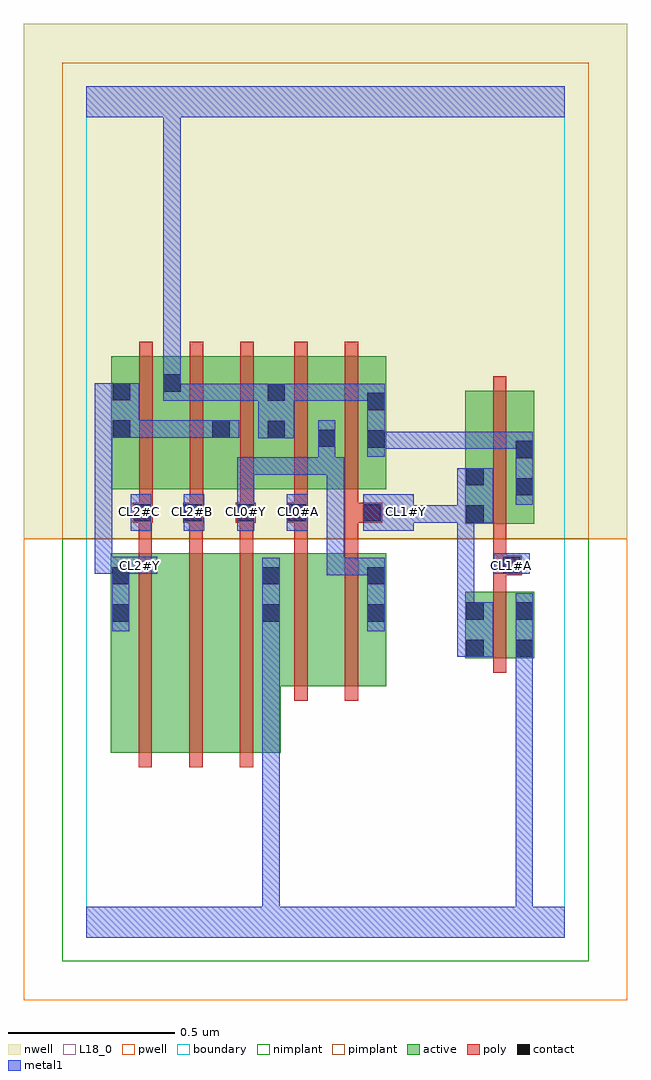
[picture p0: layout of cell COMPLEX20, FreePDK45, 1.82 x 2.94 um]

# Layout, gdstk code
import gdstk
lib = gdstk.Library(unit=1e-6, precision=1e-09)
def R(c, l, rs):  # rectangles x0, y0, x1, y1
    for r in rs: c.add(gdstk.rectangle(r[:2], r[2:], *l))
def A(c, l, x, y, w, h, nx, ny, dx, dy):  # array of equal rectangles
    R(c, l, [(x+i*dx, y+j*dy, x+i*dx+w, y+j*dy+h) for i in range(nx) for j in range(ny)])
active = (1, 0)
pwell = (2, 0)
nwell = (3, 0)
nimplant = (4, 0)
pimplant = (5, 0)
poly = (9, 0)
contact = (10, 0)
metal1 = (11, 0)
L18_0 = (18, 0)
boundary = (235, 0)

complex20 = lib.new_cell('COMPLEX20')
R(complex20, active, [(0.074,0.556,0.254,1.156), (0.074,0.556,0.134,1.156), (0.254,0.556,0.406,1.156), (0.406,0.556,0.586,1.156), (0.526,0.756,0.722,1.156), (0.526,0.756,0.586,1.118), (0.722,0.756,0.902,1.156), (0.842,0.756,0.902,1.156), (1.14,0.84,1.2,1.04), (1.14,0.84,1.348,1.04), (1.288,0.84,1.348,1.04), (1.14,1.244,1.2,1.644), (1.14,1.244,1.348,1.644), (1.288,1.244,1.348,1.644), (0.076,1.348,0.136,1.748), (0.076,1.348,0.288,1.748), (0.228,1.348,0.436,1.748), (0.376,1.348,0.602,1.748), (0.542,1.348,0.602,1.748), (0.542,1.348,0.754,1.748), (0.694,1.348,0.902,1.748), (0.842,1.348,0.902,1.748), (0.694,1.472,0.754,1.644), (0.376,1.5,0.436,1.644), (0.228,1.572,0.288,1.748)])
R(complex20, pwell, [(-0.188,-0.188,1.628,1.2)])
R(complex20, nwell, [(-0.188,1.2,1.628,2.748)])
R(complex20, nimplant, [(-0.072,-0.072,1.512,1.2)])
R(complex20, pimplant, [(-0.072,1.2,1.512,2.632)])
A(complex20, poly, 0.158, 0.512, 0.04, 0.688, 3, 1, 0.152, 0)
A(complex20, poly, 0.158, 1.16, 0.04, 0.128, 3, 1, 0.152, 0)
A(complex20, poly, 0.16, 1.268, 0.04, 0.076, 3, 1, 0.152, 0)
A(complex20, poly, 0.16, 1.304, 0.04, 0.488, 3, 1, 0.152, 0)
R(complex20, poly, [(0.626,0.712,0.666,1.2), (0.778,0.712,0.818,1.2), (1.224,0.796,1.264,1.084), (1.224,1.044,1.264,1.13), (1.224,1.09,1.31,1.15), (1.224,1.11,1.264,1.24), (1.224,1.11,1.264,1.15), (1.224,1.11,1.264,1.15), (0.626,1.16,0.666,1.288), (0.778,1.16,0.818,1.288), (1.224,1.2,1.264,1.688), (0.14,1.248,0.2,1.308), (0.158,1.248,0.198,1.288), (0.158,1.248,0.198,1.288), (0.292,1.248,0.352,1.308), (0.45,1.248,0.51,1.308), (0.462,1.248,0.502,1.288), (0.462,1.248,0.502,1.288), (0.606,1.248,0.666,1.308), (0.778,1.248,0.89,1.308), (0.312,1.268,0.352,1.308), (0.312,1.268,0.352,1.308), (0.626,1.268,0.666,1.308), (0.626,1.268,0.666,1.308), (0.626,1.268,0.666,1.344), (0.778,1.268,0.818,1.308), (0.778,1.268,0.818,1.308), (0.778,1.268,0.818,1.344), (0.626,1.304,0.666,1.792), (0.778,1.304,0.818,1.792)])
R(complex20, contact, [(1.144,0.844,1.196,0.896), (1.292,0.844,1.344,0.896), (0.078,0.95,0.13,1.002), (0.53,0.95,0.582,1.002), (0.846,0.95,0.898,1.002), (1.144,0.956,1.196,1.008), (1.292,0.956,1.344,1.008), (0.078,1.062,0.13,1.114), (0.53,1.062,0.582,1.114), (0.846,1.062,0.898,1.114), (1.254,1.094,1.306,1.146), (1.144,1.248,1.196,1.3), (0.144,1.252,0.196,1.304), (0.296,1.252,0.348,1.304), (0.454,1.252,0.506,1.304), (0.61,1.252,0.662,1.304), (0.834,1.252,0.886,1.304), (1.292,1.33,1.344,1.382), (1.144,1.36,1.196,1.412), (1.292,1.442,1.344,1.494), (0.846,1.474,0.898,1.526), (0.698,1.476,0.75,1.528), (0.546,1.502,0.598,1.554), (0.08,1.504,0.132,1.556), (0.38,1.504,0.432,1.556), (0.846,1.586,0.898,1.638), (0.546,1.614,0.598,1.666), (0.08,1.616,0.132,1.668), (0.232,1.642,0.284,1.694)])
R(complex20, metal1, [(0,0,1.44,0.092), (0.53,0.04,0.582,0.092), (0.53,0.04,0.582,0.092), (0.53,0.04,0.582,0.974), (1.292,0.04,1.344,0.092), (1.292,0.04,1.344,0.092), (1.292,0.04,1.344,0.092), (1.292,0.04,1.344,0.092), (1.292,0.04,1.344,0.092), (1.292,0.04,1.344,0.092), (1.292,0.04,1.344,0.092), (1.292,0.04,1.344,0.092), (1.292,0.04,1.344,0.868), (1.292,0.816,1.344,0.868), (1.292,0.816,1.344,0.868), (1.292,0.816,1.344,0.868), (1.292,0.816,1.344,0.868), (1.292,0.816,1.344,0.868), (1.292,0.816,1.344,0.868), (1.292,0.816,1.344,0.868), (1.292,0.816,1.344,0.868), (1.292,0.816,1.344,1.036), (1.116,0.844,1.224,1.008), (0.078,0.922,0.13,1.142), (0.53,0.922,0.582,0.974), (0.53,0.922,0.582,0.974), (0.53,0.922,0.582,0.974), (0.53,0.922,0.582,0.974), (0.53,0.922,0.582,0.974), (0.53,0.922,0.582,0.974), (0.53,0.922,0.582,1.142), (0.846,0.922,0.898,1.142), (1.116,0.956,1.168,1.3), (0.078,1.09,0.13,1.146), (0.724,1.09,0.776,1.142), (0.724,1.09,0.776,1.142), (0.724,1.09,0.776,1.142), (0.724,1.09,0.898,1.142), (0.724,1.09,0.776,1.444), (0.846,1.09,0.898,1.142), (0.846,1.09,0.898,1.142), (0.026,1.094,0.078,1.146), (0.026,1.094,0.078,1.146), (0.026,1.094,0.078,1.556), (0.026,1.094,0.214,1.146), (1.226,1.094,1.334,1.156), (0.134,1.224,0.196,1.334), (0.294,1.224,0.356,1.334), (0.454,1.224,0.506,1.334), (0.604,1.224,0.666,1.334), (0.834,1.224,0.986,1.334), (0.934,1.248,0.986,1.3), (0.934,1.248,0.986,1.3), (0.934,1.248,1.168,1.3), (1.116,1.248,1.168,1.3), (1.116,1.248,1.168,1.3), (1.116,1.248,1.168,1.3), (1.116,1.248,1.168,1.3), (1.116,1.248,1.224,1.412), (0.454,1.282,0.506,1.334), (0.454,1.282,0.506,1.444), (1.292,1.302,1.344,1.522), (0.454,1.392,0.75,1.444), (0.698,1.392,0.75,1.444), (0.698,1.392,0.75,1.444), (0.698,1.392,0.75,1.5), (0.698,1.392,0.776,1.444), (0.846,1.446,0.898,1.666), (0.698,1.448,0.75,1.556), (0.846,1.47,1.234,1.522), (1.182,1.47,1.234,1.522), (1.182,1.47,1.344,1.522), (1.292,1.47,1.344,1.522), (1.292,1.47,1.344,1.522), (0.518,1.502,0.626,1.666), (0.026,1.504,0.16,1.668), (0.108,1.504,0.16,1.556), (0.108,1.504,0.16,1.556), (0.108,1.504,0.284,1.556), (0.232,1.504,0.284,1.556), (0.232,1.504,0.284,1.556), (0.232,1.504,0.284,1.556), (0.232,1.504,0.404,1.556), (0.352,1.504,0.46,1.556), (0.232,1.614,0.284,1.666), (0.232,1.614,0.284,1.666), (0.232,1.614,0.394,1.666), (0.232,1.614,0.284,1.722), (0.342,1.614,0.394,1.666), (0.342,1.614,0.394,1.666), (0.342,1.614,0.394,1.666), (0.342,1.614,0.57,1.666), (0.574,1.614,0.626,1.666), (0.574,1.614,0.626,1.666), (0.574,1.614,0.736,1.666), (0.684,1.614,0.736,1.666), (0.684,1.614,0.898,1.666), (0.846,1.614,0.898,1.666), (0.846,1.614,0.898,1.666), (0.232,1.67,0.284,1.722), (0.232,1.67,0.284,1.722), (0.232,1.67,0.284,1.722), (0.232,1.67,0.284,1.722), (0.232,1.67,0.284,1.722), (0.232,1.67,0.284,1.722), (0.232,1.67,0.284,1.722), (0.232,1.67,0.284,1.722), (0.232,1.67,0.284,1.722), (0.232,1.67,0.284,1.722), (0.232,1.67,0.284,1.722), (0.232,1.67,0.284,1.722), (0.232,1.67,0.284,1.722), (0.232,1.67,0.284,1.722), (0.232,1.67,0.284,2.52), (0,2.468,1.44,2.56), (0.232,2.468,0.284,2.52), (0.232,2.468,0.284,2.52)])
A(complex20, L18_0, 0.134, 1.254, 0.052, 0.052, 4, 1, 0.16, 0)
R(complex20, L18_0, [(0,0,1.44,0.092), (0.53,0.04,0.582,0.092), (0.53,0.04,0.582,0.092), (0.53,0.04,0.582,0.974), (1.292,0.04,1.344,0.092), (1.292,0.04,1.344,0.092), (1.292,0.04,1.344,0.092), (1.292,0.04,1.344,0.092), (1.292,0.04,1.344,0.092), (1.292,0.04,1.344,0.092), (1.292,0.04,1.344,0.092), (1.292,0.04,1.344,0.092), (1.292,0.04,1.344,0.868), (1.292,0.816,1.344,1.036), (1.292,0.816,1.344,0.868), (1.292,0.816,1.344,0.868), (1.292,0.816,1.344,0.868), (1.292,0.816,1.344,0.868), (1.292,0.816,1.344,0.868), (1.292,0.816,1.344,0.868), (1.292,0.816,1.344,0.868), (1.292,0.816,1.344,0.868), (1.116,0.844,1.224,1.008), (0.078,0.922,0.13,1.142), (0.53,0.922,0.582,1.142), (0.53,0.922,0.582,0.974), (0.53,0.922,0.582,0.974), (0.53,0.922,0.582,0.974), (0.53,0.922,0.582,0.974), (0.53,0.922,0.582,0.974), (0.53,0.922,0.582,0.974), (0.846,0.922,0.898,1.142), (1.116,0.956,1.168,1.3), (0.078,1.09,0.13,1.146), (0.724,1.09,0.776,1.142), (0.724,1.09,0.776,1.142), (0.724,1.09,0.776,1.142), (0.724,1.09,0.776,1.444), (0.724,1.09,0.898,1.142), (0.846,1.09,0.898,1.142), (0.846,1.09,0.898,1.142), (0.026,1.094,0.214,1.146), (0.026,1.094,0.078,1.146), (0.026,1.094,0.078,1.146), (0.026,1.094,0.078,1.556), (0.134,1.094,0.186,1.146), (1.226,1.094,1.334,1.156), (1.254,1.094,1.306,1.146), (0.134,1.224,0.196,1.334), (0.294,1.224,0.356,1.334), (0.454,1.224,0.506,1.334), (0.604,1.224,0.666,1.334), (0.834,1.224,0.986,1.334), (0.934,1.248,0.986,1.3), (0.934,1.248,0.986,1.3), (0.934,1.248,1.168,1.3), (1.116,1.248,1.168,1.3), (1.116,1.248,1.168,1.3), (1.116,1.248,1.168,1.3), (1.116,1.248,1.168,1.3), (1.116,1.248,1.224,1.412), (0.934,1.254,0.986,1.306), (0.454,1.282,0.506,1.334), (0.454,1.282,0.506,1.444), (1.292,1.302,1.344,1.522), (0.454,1.392,0.75,1.444), (0.698,1.392,0.75,1.444), (0.698,1.392,0.75,1.444), (0.698,1.392,0.75,1.5), (0.698,1.392,0.776,1.444), (0.846,1.446,0.898,1.666), (0.698,1.448,0.75,1.556), (0.846,1.47,1.234,1.522), (1.182,1.47,1.234,1.522), (1.182,1.47,1.344,1.522), (1.292,1.47,1.344,1.522), (1.292,1.47,1.344,1.522), (0.518,1.502,0.626,1.666), (0.026,1.504,0.16,1.668), (0.108,1.504,0.16,1.556), (0.108,1.504,0.16,1.556), (0.108,1.504,0.284,1.556), (0.232,1.504,0.284,1.556), (0.232,1.504,0.284,1.556), (0.232,1.504,0.284,1.556), (0.232,1.504,0.404,1.556), (0.352,1.504,0.46,1.556), (0.232,1.614,0.284,1.666), (0.232,1.614,0.284,1.666), (0.232,1.614,0.284,1.722), (0.232,1.614,0.394,1.666), (0.342,1.614,0.394,1.666), (0.342,1.614,0.394,1.666), (0.342,1.614,0.394,1.666), (0.342,1.614,0.57,1.666), (0.574,1.614,0.626,1.666), (0.574,1.614,0.626,1.666), (0.574,1.614,0.736,1.666), (0.684,1.614,0.736,1.666), (0.684,1.614,0.898,1.666), (0.846,1.614,0.898,1.666), (0.846,1.614,0.898,1.666), (0.232,1.67,0.284,1.722), (0.232,1.67,0.284,1.722), (0.232,1.67,0.284,1.722), (0.232,1.67,0.284,1.722), (0.232,1.67,0.284,1.722), (0.232,1.67,0.284,1.722), (0.232,1.67,0.284,1.722), (0.232,1.67,0.284,1.722), (0.232,1.67,0.284,1.722), (0.232,1.67,0.284,1.722), (0.232,1.67,0.284,1.722), (0.232,1.67,0.284,1.722), (0.232,1.67,0.284,1.722), (0.232,1.67,0.284,1.722), (0.232,1.67,0.284,2.52), (0,2.468,1.44,2.56), (0.232,2.468,0.284,2.52), (0.232,2.468,0.284,2.52)])
R(complex20, boundary, [(0,0,1.44,2.56)])
complex20.add(gdstk.Label('CL0#A', (0.64,1.28), layer=11, texttype=0))
complex20.add(gdstk.Label('CL0#Y', (0.48,1.28), layer=11, texttype=0))
complex20.add(gdstk.Label('CL1#A', (1.28,1.12), layer=11, texttype=0))
complex20.add(gdstk.Label('CL1#Y', (0.96,1.28), layer=11, texttype=0))
complex20.add(gdstk.Label('CL2#B', (0.32,1.28), layer=11, texttype=0))
complex20.add(gdstk.Label('CL2#C', (0.16,1.28), layer=11, texttype=0))
complex20.add(gdstk.Label('CL2#Y', (0.16,1.12), layer=11, texttype=0))

lib.write_gds('COMPLEX20.gds')
